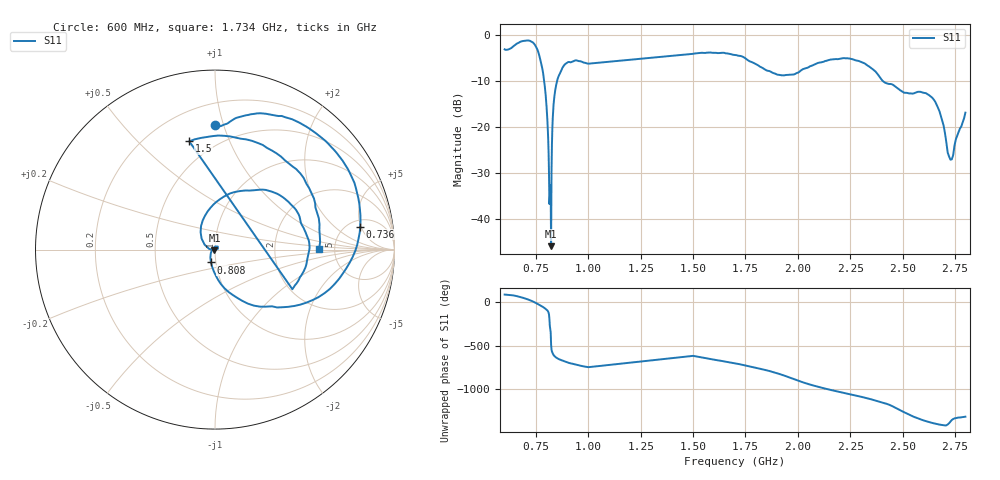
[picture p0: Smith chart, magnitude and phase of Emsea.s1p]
!File created by NanoVNA
# Hz S RI R 50
!LO
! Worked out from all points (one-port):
!   402 points, 600 MHz to 2.8 GHz, reference 50 ohm
!   lowest |S11| = -46.0 dB at 822 MHz (marker M1), VSWR 1.01, Z = 49.7 - j0.402 ohm
!   |S11| at or under -10 dB: 788.6 MHz to 850.9 MHz (62.3 MHz wide, 7.6 % of centre); 2.404 GHz to end of sweep
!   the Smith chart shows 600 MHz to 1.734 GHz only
!   S11 on the Smith chart (normalised r, x): 600 MHz: 0.35, +0.94; 736 MHz: 6.22, +4.86; 808 MHz: 0.95, -0.14; 1.5 GHz: 0.37, +0.72; 1.734 GHz: 3.77, +0.05
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6e8  0.00182 0.6941
6.8e8  0.4502 0.7169
7.36e8  0.8092 0.1283
7.62e8  0.5776 -0.2644
7.84e8  0.2165 -0.3123
8.08e8  -0.0227 -0.0716
8.18e8  0.0154 0.0171
8.22e8  -0.00299 -0.00404
8.3e8  -0.0803 0.0967
8.36e8  -0.0551 0.1898
8.76e8  0.2824 0.3326
9.36e8  0.5228 0.0495
9.96e8  0.4385 -0.2095
1e9  0.4311 -0.2209
1.5e9  -0.1434 0.6034
1.513e9  -0.0795 0.622
1.5455e9  0.0858 0.6303
1.7015e9  0.5783 0.1749
1.734e9  0.5804 0.00404
1.8705e9  0.0966 -0.3845
1.981e9  -0.3574 -0.0958
2.1175e9  -0.0353 0.5037
2.254e9  0.5195 0.1669
2.384e9  0.1688 -0.3238
2.527e9  -0.201 0.115
2.6505e9  0.1368 0.1391
2.7285e9  0.0184 0.0398
2.8e9  -0.0763 0.1201
